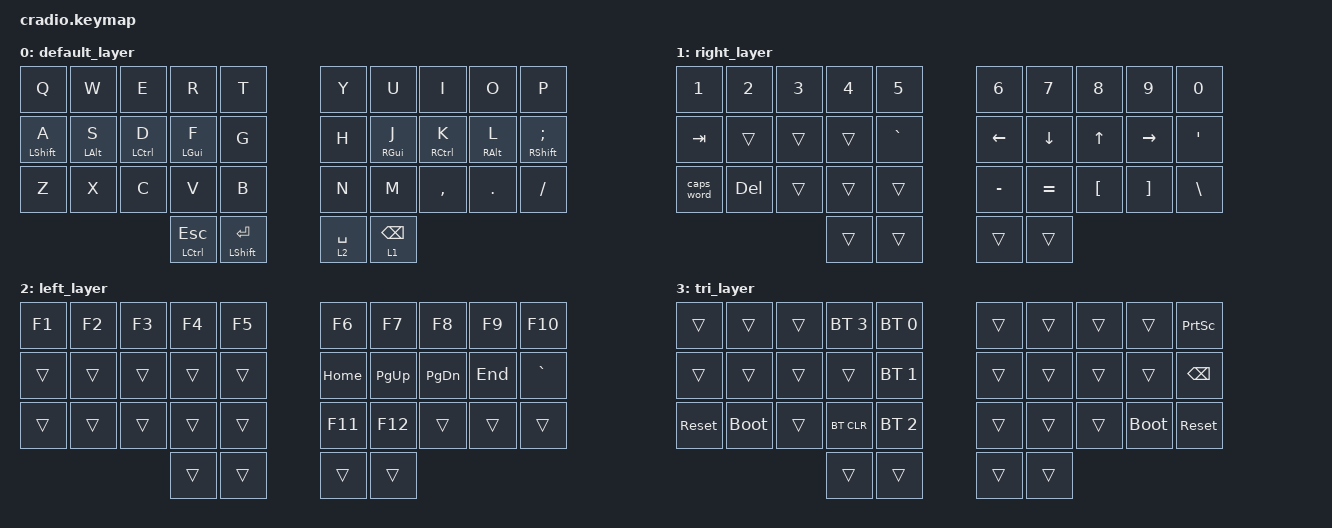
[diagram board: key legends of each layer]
// Copyright (c) 2022 The ZMK Contributors
// SPDX-License-Identifier: MIT

#include <behaviors.dtsi>
#include <dt-bindings/zmk/keys.h>
#include <dt-bindings/zmk/bt.h>

/ {
    behaviors {
        ht: hold_tap {
            compatible = "zmk,behavior-hold-tap";
            #binding-cells = <2>;
            flavor = "tap-preferred";
            tapping-term-ms = <220>;
            quick-tap-ms = <150>;
            global-quick-tap;
            bindings = <&kp>, <&kp>;
        };
    };

    conditional_layers {
        compatible = "zmk,conditional-layers";
        tri_layer {
            if-layers = <1 2>;
            then-layer = <3>;
        };
    };


    keymap {
        compatible = "zmk,keymap";
        default_layer {
            bindings = <
        //╭──────────┬──────────┬──────────┬──────────────┬──────────╮   ╭────────────┬──────────┬──────────┬──────────┬──────────╮
        //│  Q       │  W       │  E       │  R           │  T       │   │  Y         │  U       │  I       │  O       │  P       │
            &kp Q      &kp W      &kp E      &kp R          &kp T          &kp Y        &kp U      &kp I      &kp O      &kp P
        //├──────────┼──────────┼──────────┼──────────────┼──────────┤   ├────────────┼──────────┼──────────┼──────────┼──────────┤
        //│  A       │  S       │  D       │  F           │  G       │   │  H         │  J       │  K       │  L       │  ;       │
          &ht LSHIFT A &ht LALT S &ht LCTRL D &ht LGUI F     &kp G          &kp H     &ht RGUI J &ht RCTRL K &ht RALT L &ht RSHIFT SEMI
        //├──────────┼──────────┼──────────┼──────────────┼──────────┤   ├────────────┼──────────┼──────────┼──────────┼──────────┤
        //│  Z       │  X       │  C       │  V           │  B       │   │  N         │  M       │ , <      │ . >      │ / ?      │
            &kp Z      &kp X      &kp C      &kp V          &kp B          &kp N        &kp M      &kp COMMA  &kp DOT    &kp FSLH
        //╰──────────┴──────────┴──────────┼──────────────┼──────────┤   ├────────────┼──────────┼──────────┴──────────┴──────────╯
                                            &mt LCTRL ESC   &mt LSHIFT ENTER &lt 2 SPACE  &lt 1 BSPC
        //                                 ╰──────────────┴──────────╯   ╰────────────┴──────────╯
            >;
        };

        right_layer {
            bindings = <
        //╭──────────┬──────────┬──────────┬──────────┬──────────╮   ╭──────────┬──────────┬──────────┬──────────┬──────────╮
        //│ 1        │  2       │  3       │  4       │  5       │   │ 6        │ 7        │ 8        │ 9        │  0       │
            &kp N1     &kp N2     &kp N3     &kp N4     &kp N5         &kp N6     &kp N7     &kp N8     &kp N9      &kp N0   
        //├──────────┼──────────┼──────────┼──────────┼──────────┤   ├──────────┼──────────┼──────────┼──────────┼──────────┤
        //│ TAB      │          │          │          │ `        │   │ LEFT     │ DOWN     │ UP       │ RIGHT    │  '       │
            &kp TAB    &trans     &trans     &trans    &kp GRAVE       &kp LEFT   &kp DOWN   &kp UP   &kp RIGHT   &kp SQT
        //├──────────┼──────────┼──────────┼──────────┼──────────┤   ├──────────┼──────────┼──────────┼──────────┼──────────┤
        //│ CAPS     │ DEL      │          │          │          │   │  -       │  =       │  [       │  ]       │ \        │
           &caps_word &kp DELETE  &trans     &trans     &trans         &kp MINUS  &kp EQUAL  &kp LBKT   &kp RBKT    &kp BSLH
        //╰──────────┴──────────┴──────────┼──────────┼──────────┤   ├──────────┼──────────┼──────────┴──────────┴──────────╯
                                             &trans     &trans         &trans     &trans
        //                                 ╰──────────┴──────────╯   ╰──────────┴──────────╯
            >;
        };

        left_layer {
            bindings = <
        //╭──────────┬──────────┬──────────┬──────────┬──────────╮   ╭──────────┬──────────┬──────────┬──────────┬──────────╮
        //│ F1       │  F2      │  F3      │  F4      │  F5      │   │ F6       │ F7       │ F8       │ F9       │  F10     │
            &kp F1     &kp F2     &kp F3     &kp F4     &kp F5         &kp F6     &kp F7     &kp F8     &kp F9      &kp F10   
        //├──────────┼──────────┼──────────┼──────────┼──────────┤   ├──────────┼──────────┼──────────┼──────────┼──────────┤
        //│          │          │          │          │          │   │  HOME    │  PG UP   │  PG DN   │  END     │  `       │
            &trans     &trans     &trans     &trans     &trans         &kp HOME   &kp PG_UP  &kp PG_DN  &kp END   &kp GRAVE
        //├──────────┼──────────┼──────────┼──────────┼──────────┤   ├──────────┼──────────┼──────────┼──────────┼──────────┤
        //│          │          │          │          │          │   │ F11      │  F12     │          │          │          │
            &trans     &trans     &trans     &trans     &trans         &kp F11    &kp F12    &trans     &trans     &trans  
        //╰──────────┴──────────┴──────────┼──────────┼──────────┤   ├──────────┼──────────┼──────────┴──────────┴──────────╯
                                             &trans     &trans         &trans     &trans
        //                                 ╰──────────┴──────────╯   ╰──────────┴──────────╯
            >;
        };

        tri_layer {
            bindings = <
        //╭──────────┬──────────┬──────────┬──────────┬──────────╮   ╭──────────┬──────────┬──────────┬──────────┬──────────╮
        //│          │          │          │PROFILE 3 │PROFILE 0 │   │          │          │          │          │  PSCRN   │
            &trans     &trans     &trans  &bt BT_SEL 3 &bt BT_SEL 0     &trans    &trans     &trans     &trans     &kp PSCRN
        //├──────────┼──────────┼──────────┼──────────┼──────────┤   ├──────────┼──────────┼──────────┼──────────┼──────────┤
        //│          │          │          │          │PROFILE 1 │   │          │          │          │          │BACKSPACE │
            &trans     &trans     &trans     &trans   &bt BT_SEL 1     &trans     &trans     &trans     &trans     &kp BSPC
        //├──────────┼──────────┼──────────┼──────────┼──────────┤   ├──────────┼──────────┼──────────┼──────────┼──────────┤
        //│  RESET   │BOOTLOADER│          │ CLEAR BT │PROFILE 2 │   │          │          │          │BOOTLOADER│   RESET  │
           &sys_reset &bootloader  &trans  &bt BT_CLR &bt BT_SEL 2     &trans     &trans     &trans   &bootloader &sys_reset
        //╰──────────┴──────────┴──────────┼──────────┼──────────┤   ├──────────┼──────────┼──────────┴──────────┴──────────╯
                                             &trans     &trans         &trans     &trans
        //                                 ╰──────────┴──────────╯   ╰──────────┴──────────╯
            >;
        };
    };
};
